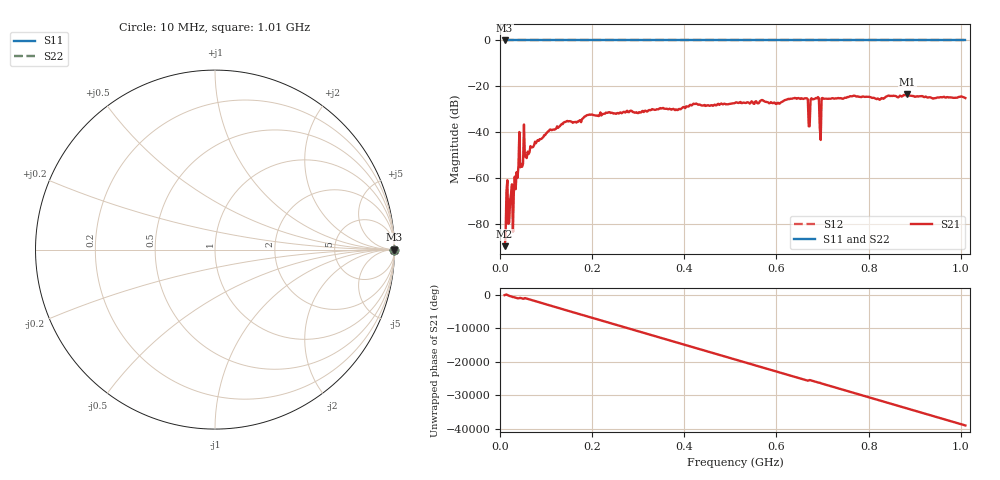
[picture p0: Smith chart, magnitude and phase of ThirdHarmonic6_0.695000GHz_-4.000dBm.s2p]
! 8/15/2025 11:12:23 PM
! C:\ANRITSUVNA\TEMP\TEMP.S2P
! CHANNEL.1
! TR.MEASUREMENT
! RAW.DATA
! RF.CORRECTION.OFF
! AVERAGING.OFF
! IF.BANDWIDTH: 5KHZ
! SWEEPTYPE:  FREQ.SWEEP(Linear)
! Reference Plane Port Info
! PORT:  PORT1  PORT2
! DISTANCE:  0  m  0  m
! TIME:  0  s  0  s
! PHASE.OFFSET:  0  deg.  0  deg.
! LOSS:  0  dB  0  dB
! REF.LOSS:  0  dB  0  dB
! REF.FREQ:  0  Hz  0  Hz
! Power Info
! POWER:  -20  dBm  -20  dBm
! EFF.POWER:  -20  dBm  -20  dBm
! SOURCE.ATTEN:  0  dB  0  dB
! TEST.ATTEN:  0  dB  0  dB
# GHZ S RI R 50.0
! FREQ.GHZ  S11RE  S11IM  S21RE  S21IM  S12RE  S12IM  S22RE  S22IM
!; PortSelection: Port_12
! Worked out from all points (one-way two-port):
!   501 points, 10 MHz to 1.01 GHz, reference 50 ohm
!   highest |S21| = -23.58 dB at 884 MHz (marker M1); lowest = -89.9 dB at 10 MHz (marker M2)
!   lowest |S11| = 0.0 dB at 10 MHz (marker M3)
!   |S11| at or under -10 dB: nowhere
!   |S22| runs from 0.0 to 0.0 dB; largest |S21 - S12| = 1.1
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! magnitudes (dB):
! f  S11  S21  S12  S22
! 10 MHz  0.0  -89.9  0.0  0.0
! 12 MHz  0.0  -86.4  0.0  0.0
! 24 MHz  0.0  -67.0  0.0  0.0
! 32 MHz  0.0  -59.5  0.0  0.0
! 40 MHz  0.0  -54.9  0.0  0.0
! 56 MHz  0.0  -50.9  0.0  0.0
! 58 MHz  0.0  -51.4  0.0  0.0
! 142 MHz  0.0  -35.6  0.0  0.0
! 178 MHz  0.0  -34.4  0.0  0.0
! 344 MHz  0.0  -30.0  0.0  0.0
! 510 MHz  0.0  -27.3  0.0  0.0
! 664 MHz  0.0  -25.3  0.0  0.0
! 668 MHz  0.0  -25.7  0.0  0.0
! 674 MHz  0.0  -25.8  0.0  0.0
! 678 MHz  0.0  -25.7  0.0  0.0
! 688 MHz  0.0  -25.3  0.0  0.0
! 692 MHz  0.0  -25.2  0.0  0.0
! 698 MHz  0.0  -25.3  0.0  0.0
! 702 MHz  0.0  -25.5  0.0  0.0
! 844 MHz  0.0  -24.1  0.0  0.0
! 884 MHz  0.0  -23.6  0.0  0.0
! 1.01 GHz  0.0  -25.2  0.0  0.0
